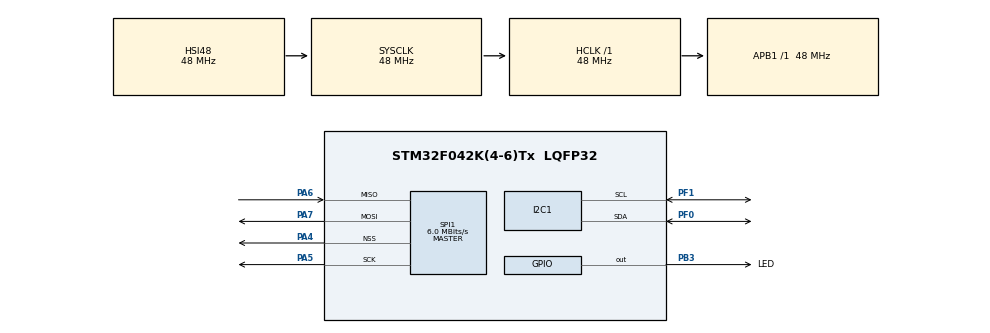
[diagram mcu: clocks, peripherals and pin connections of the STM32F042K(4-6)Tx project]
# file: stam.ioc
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FREERTOS.BinarySemaphores01=myBinarySem01,Dynamic,NULL
FREERTOS.Queues01=myQueue01,16,uint16_t,0,Dynamic,NULL,NULL
FREERTOS.Tasks01=defaultTask,0,128,StartDefaultTask,Default,NULL,Dynamic,NULL,NULL;myTask02,-3,128,StartTask02,Default,NULL,Dynamic,NULL,NULL;myTask03,-3,128,StartTask03,Default,NULL,Dynamic,NULL,NULL
Mcu.Family=STM32F0
Mcu.Name=STM32F042K(4-6)Tx
Mcu.Package=LQFP32
NVIC.TIM1_BRK_UP_TRG_COM_IRQn=true\:0\:0\:false\:false\:true\:false\:false
NVIC.TimeBase=TIM1_BRK_UP_TRG_COM_IRQn
NVIC.TimeBaseIP=TIM1
PA4.Mode=NSS_Signal_Hard_Output
PA4.Signal=SPI1_NSS
PA5.Mode=Full_Duplex_Master
PA5.Signal=SPI1_SCK
PA6.Mode=Full_Duplex_Master
PA6.Signal=SPI1_MISO
PA7.Mode=Full_Duplex_Master
PA7.Signal=SPI1_MOSI
PB3.GPIO_Label=LED
PB3.Signal=GPIO_Output
PF0-OSC_IN.Mode=I2C
PF0-OSC_IN.Signal=I2C1_SDA
PF1-OSC_OUT.Mode=I2C
PF1-OSC_OUT.Signal=I2C1_SCL
ProjectManager.HeapSize=0x200
ProjectManager.StackSize=0x400
ProjectManager.TargetToolchain=TrueSTUDIO
RCC.AHBFreq_Value=48000000
RCC.APB1Freq_Value=48000000
RCC.APB1TimFreq_Value=48000000
RCC.HCLKFreq_Value=48000000
RCC.SYSCLKFreq_VALUE=48000000
RCC.SYSCLKSource=RCC_SYSCLKSOURCE_HSI48
SPI1.BaudRatePrescaler=SPI_BAUDRATEPRESCALER_8
SPI1.CalculateBaudRate=6.0 MBits/s
SPI1.Direction=SPI_DIRECTION_2LINES
SPI1.Mode=SPI_MODE_MASTER
SPI1.VirtualNSS=VM_NSSHARD
SPI1.VirtualType=VM_MASTER
VP_FREERTOS_VS_ENABLE.Mode=Enabled
VP_SYS_VS_tim1.Mode=TIM1
board=custom

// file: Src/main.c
/**
  ******************************************************************************
  * @file           : main.c
  * @brief          : Main program body
  ******************************************************************************
  * This notice applies to any and all portions of this file
  * that are not between comment pairs USER CODE BEGIN and
  * USER CODE END. Other portions of this file, whether
  * inserted by the user or by software development tools
  * are owned by their respective copyright owners.
  *
  * Copyright (c) 2018 STMicroelectronics International N.V.
  * All rights reserved.
  *
  * Redistribution and use in source and binary forms, with or without
  * modification, are permitted, provided that the following conditions are met:
  *
  * 1. Redistribution of source code must retain the above copyright notice,
  *    this list of conditions and the following disclaimer.
  * 2. Redistributions in binary form must reproduce the above copyright notice,
  *    this list of conditions and the following disclaimer in the documentation
  *    and/or other materials provided with the distribution.
  * 3. Neither the name of STMicroelectronics nor the names of other
  *    contributors to this software may be used to endorse or promote products
  *    derived from this software without specific written permission.
  * 4. This software, including modifications and/or derivative works of this
  *    software, must execute solely and exclusively on microcontroller or
  *    microprocessor devices manufactured by or for STMicroelectronics.
  * 5. Redistribution and use of this software other than as permitted under
  *    this license is void and will automatically terminate your rights under
  *    this license.
  *
  * THIS SOFTWARE IS PROVIDED BY STMICROELECTRONICS AND CONTRIBUTORS "AS IS"
  * AND ANY EXPRESS, IMPLIED OR STATUTORY WARRANTIES, INCLUDING, BUT NOT
  * LIMITED TO, THE IMPLIED WARRANTIES OF MERCHANTABILITY, FITNESS FOR A
  * PARTICULAR PURPOSE AND NON-INFRINGEMENT OF THIRD PARTY INTELLECTUAL PROPERTY
  * RIGHTS ARE DISCLAIMED TO THE FULLEST EXTENT PERMITTED BY LAW. IN NO EVENT
  * SHALL STMICROELECTRONICS OR CONTRIBUTORS BE LIABLE FOR ANY DIRECT, INDIRECT,
  * INCIDENTAL, SPECIAL, EXEMPLARY, OR CONSEQUENTIAL DAMAGES (INCLUDING, BUT NOT
  * LIMITED TO, PROCUREMENT OF SUBSTITUTE GOODS OR SERVICES; LOSS OF USE, DATA,
  * OR PROFITS; OR BUSINESS INTERRUPTION) HOWEVER CAUSED AND ON ANY THEORY OF
  * LIABILITY, WHETHER IN CONTRACT, STRICT LIABILITY, OR TORT (INCLUDING
  * NEGLIGENCE OR OTHERWISE) ARISING IN ANY WAY OUT OF THE USE OF THIS SOFTWARE,
  * EVEN IF ADVISED OF THE POSSIBILITY OF SUCH DAMAGE.
  *
  ******************************************************************************
  */
#include "main.h"
#include "stm32f0xx_hal.h"
#include "cmsis_os.h"
#include "usb.h"

I2C_HandleTypeDef hi2c1;

SPI_HandleTypeDef hspi1;

osThreadId defaultTaskHandle;
osThreadId myTask02Handle;
osThreadId myTask03Handle;
osMessageQId myQueue01Handle;
volatile osSemaphoreId myBinarySem01Handle;

/* USER CODE BEGIN PV */
extern usbd_device udev;
/* Private variables ---------------------------------------------------------*/

/* USER CODE END PV */

void SystemClock_Config(void);
static void MX_GPIO_Init(void);
static void MX_SPI1_Init(void);
static void MX_I2C1_Init(void);
void StartDefaultTask(void const * argument);
void StartTask02(void const * argument);
void StartTask03(void const * argument);

/* USER CODE BEGIN PFP */
/* Private function prototypes -----------------------------------------------*/

/* USER CODE END PFP */

int main(void)
{

  /* MCU Configuration----------------------------------------------------------*/

  /* Reset of all peripherals, Initializes the Flash interface and the Systick. */
  HAL_Init();

  /* Configure the system clock */
  SystemClock_Config();

  /* Initialize all configured peripherals */
  MX_GPIO_Init();
  MX_SPI1_Init();
  MX_I2C1_Init();
  /* USER CODE BEGIN 2 */

  hid_init_usbd();
  usbd_enable(&udev, true);
  usbd_connect(&udev, true);

  HAL_NVIC_EnableIRQ(USB_IRQn);
  /* USER CODE END 2 */

  /* Create the semaphores(s) */
  /* definition and creation of myBinarySem01 */
  osSemaphoreDef(myBinarySem01);
  myBinarySem01Handle = osSemaphoreCreate(osSemaphore(myBinarySem01), 1);

  /* Create the thread(s) */
  /* definition and creation of defaultTask */
  osThreadDef(defaultTask, StartDefaultTask, osPriorityNormal, 0, 128);
  defaultTaskHandle = osThreadCreate(osThread(defaultTask), NULL);

  /* definition and creation of myTask02 */
  osThreadDef(myTask02, StartTask02, osPriorityNormal, 0, 128);
  myTask02Handle = osThreadCreate(osThread(myTask02), NULL);

  /* definition and creation of myTask03 */
  osThreadDef(myTask03, StartTask03, osPriorityNormal, 0, 128);
  myTask03Handle = osThreadCreate(osThread(myTask03), NULL);

  /* Create the queue(s) */
  /* definition and creation of myQueue01 */
/* what about the sizeof here??? cd native code */
  osMessageQDef(myQueue01, 16, uint16_t);
  myQueue01Handle = osMessageCreate(osMessageQ(myQueue01), NULL);

  /* Start scheduler */
  osKernelStart();

  /* We should never get here as control is now taken by the scheduler */

  /* Infinite loop */
  while (1)
  {

  }

}

void SystemClock_Config(void)
{

  RCC_OscInitTypeDef RCC_OscInitStruct;
  RCC_ClkInitTypeDef RCC_ClkInitStruct;
  RCC_PeriphCLKInitTypeDef PeriphClkInit;

    /**Initializes the CPU, AHB and APB busses clocks
    */
  RCC_OscInitStruct.OscillatorType = RCC_OSCILLATORTYPE_HSI|RCC_OSCILLATORTYPE_HSI48;
  RCC_OscInitStruct.HSIState = RCC_HSI_ON;
  RCC_OscInitStruct.HSI48State = RCC_HSI48_ON;
  RCC_OscInitStruct.HSICalibrationValue = 16;
  RCC_OscInitStruct.PLL.PLLState = RCC_PLL_NONE;
  if (HAL_RCC_OscConfig(&RCC_OscInitStruct) != HAL_OK)
  {
    _Error_Handler(__FILE__, __LINE__);
  }

    /**Initializes the CPU, AHB and APB busses clocks
    */
  RCC_ClkInitStruct.ClockType = RCC_CLOCKTYPE_HCLK|RCC_CLOCKTYPE_SYSCLK
                              |RCC_CLOCKTYPE_PCLK1;
  RCC_ClkInitStruct.SYSCLKSource = RCC_SYSCLKSOURCE_HSI48;
  RCC_ClkInitStruct.AHBCLKDivider = RCC_SYSCLK_DIV1;
  RCC_ClkInitStruct.APB1CLKDivider = RCC_HCLK_DIV1;

  if (HAL_RCC_ClockConfig(&RCC_ClkInitStruct, FLASH_LATENCY_1) != HAL_OK)
  {
    _Error_Handler(__FILE__, __LINE__);
  }

  PeriphClkInit.PeriphClockSelection = RCC_PERIPHCLK_I2C1;
  PeriphClkInit.I2c1ClockSelection = RCC_I2C1CLKSOURCE_HSI;
  if (HAL_RCCEx_PeriphCLKConfig(&PeriphClkInit) != HAL_OK)
  {
    _Error_Handler(__FILE__, __LINE__);
  }

    /**Configure the Systick interrupt time
    */
  HAL_SYSTICK_Config(HAL_RCC_GetHCLKFreq()/1000);

    /**Configure the Systick
    */
  HAL_SYSTICK_CLKSourceConfig(SYSTICK_CLKSOURCE_HCLK);

  /* SysTick_IRQn interrupt configuration */
  HAL_NVIC_SetPriority(SysTick_IRQn, 3, 0);
}

/* I2C1 init function */
static void MX_I2C1_Init(void)
{

  hi2c1.Instance = I2C1;
  hi2c1.Init.Timing = 0x2000090E;
  hi2c1.Init.OwnAddress1 = 0;
  hi2c1.Init.AddressingMode = I2C_ADDRESSINGMODE_7BIT;
  hi2c1.Init.DualAddressMode = I2C_DUALADDRESS_DISABLE;
  hi2c1.Init.OwnAddress2 = 0;
  hi2c1.Init.OwnAddress2Masks = I2C_OA2_NOMASK;
  hi2c1.Init.GeneralCallMode = I2C_GENERALCALL_DISABLE;
  hi2c1.Init.NoStretchMode = I2C_NOSTRETCH_DISABLE;
  if (HAL_I2C_Init(&hi2c1) != HAL_OK)
  {
    _Error_Handler(__FILE__, __LINE__);
  }

    /**Configure Analogue filter
    */
  if (HAL_I2CEx_ConfigAnalogFilter(&hi2c1, I2C_ANALOGFILTER_ENABLE) != HAL_OK)
  {
    _Error_Handler(__FILE__, __LINE__);
  }

    /**Configure Digital filter
    */
  if (HAL_I2CEx_ConfigDigitalFilter(&hi2c1, 0) != HAL_OK)
  {
    _Error_Handler(__FILE__, __LINE__);
  }

}

/* SPI1 init function */
static void MX_SPI1_Init(void)
{

  /* SPI1 parameter configuration*/
  hspi1.Instance = SPI1;
  hspi1.Init.Mode = SPI_MODE_MASTER;
  hspi1.Init.Direction = SPI_DIRECTION_2LINES;
  hspi1.Init.DataSize = SPI_DATASIZE_4BIT;
  hspi1.Init.CLKPolarity = SPI_POLARITY_LOW;
  hspi1.Init.CLKPhase = SPI_PHASE_1EDGE;
  hspi1.Init.NSS = SPI_NSS_HARD_OUTPUT;
  hspi1.Init.BaudRatePrescaler = SPI_BAUDRATEPRESCALER_8;
  hspi1.Init.FirstBit = SPI_FIRSTBIT_MSB;
  hspi1.Init.TIMode = SPI_TIMODE_DISABLE;
  hspi1.Init.CRCCalculation = SPI_CRCCALCULATION_DISABLE;
  hspi1.Init.CRCPolynomial = 7;
  hspi1.Init.CRCLength = SPI_CRC_LENGTH_DATASIZE;
  hspi1.Init.NSSPMode = SPI_NSS_PULSE_ENABLE;
  if (HAL_SPI_Init(&hspi1) != HAL_OK)
  {
    _Error_Handler(__FILE__, __LINE__);
  }

}

/** Configure pins as
        * Analog
        * Input
        * Output
        * EVENT_OUT
        * EXTI
*/
static void MX_GPIO_Init(void)
{

  GPIO_InitTypeDef GPIO_InitStruct;

  /* GPIO Ports Clock Enable */
  __HAL_RCC_GPIOF_CLK_ENABLE();
  __HAL_RCC_GPIOA_CLK_ENABLE();
  __HAL_RCC_GPIOB_CLK_ENABLE();

  /*Configure GPIO pin Output Level */
  HAL_GPIO_WritePin(LED_GPIO_Port, LED_Pin, GPIO_PIN_RESET);

  /*Configure GPIO pin : LED_Pin */
  GPIO_InitStruct.Pin = LED_Pin;
  GPIO_InitStruct.Mode = GPIO_MODE_OUTPUT_PP;
  GPIO_InitStruct.Pull = GPIO_NOPULL;
  GPIO_InitStruct.Speed = GPIO_SPEED_FREQ_LOW;
  HAL_GPIO_Init(LED_GPIO_Port, &GPIO_InitStruct);

}

void StartDefaultTask(void const * argument)
{

  /* USER CODE BEGIN 5 */

  uint16_t test;
  uint8_t arr[16];
  /* Infinite loop */
  for(;;)
  {
	//test++;
	//HAL_GPIO_TogglePin(LED_GPIO_Port,LED_Pin);

    osDelay(200);
  }
  /* USER CODE END 5 */
}

void StartTask02(void const * argument)
{
  /* USER CODE BEGIN StartTask02 */
	uint8_t data[] = {0x55,0x55,0x30,0x31,0x22,0x65};
  /* Infinite loop */
  for(;;)
  {
	  HAL_SPI_Transmit(&hspi1,data,sizeof(data),1000);
	  osDelay(1);
  }
  /* USER CODE END StartTask02 */
}

void StartTask03(void const * argument)
{
  /* USER CODE BEGIN StartTask03 */
    char tesstr[20];
    static uint16_t i;

  /* Infinite loop */
  for(;;)
  {
	sprintf(tesstr,"hello %d\n\r",i++);
	usb_tx_post(tesstr,sizeof(tesstr));
    osDelay(10);
  }
  /* USER CODE END StartTask03 */
}

void HAL_TIM_PeriodElapsedCallback(TIM_HandleTypeDef *htim)
{
  if (htim->Instance == TIM1) {
    HAL_IncTick();
  }
}

void _Error_Handler(char *file, int line)
{
  while(1)
  {
  }
}

/************************ (C) COPYRIGHT STMicroelectronics *****END OF FILE****/
